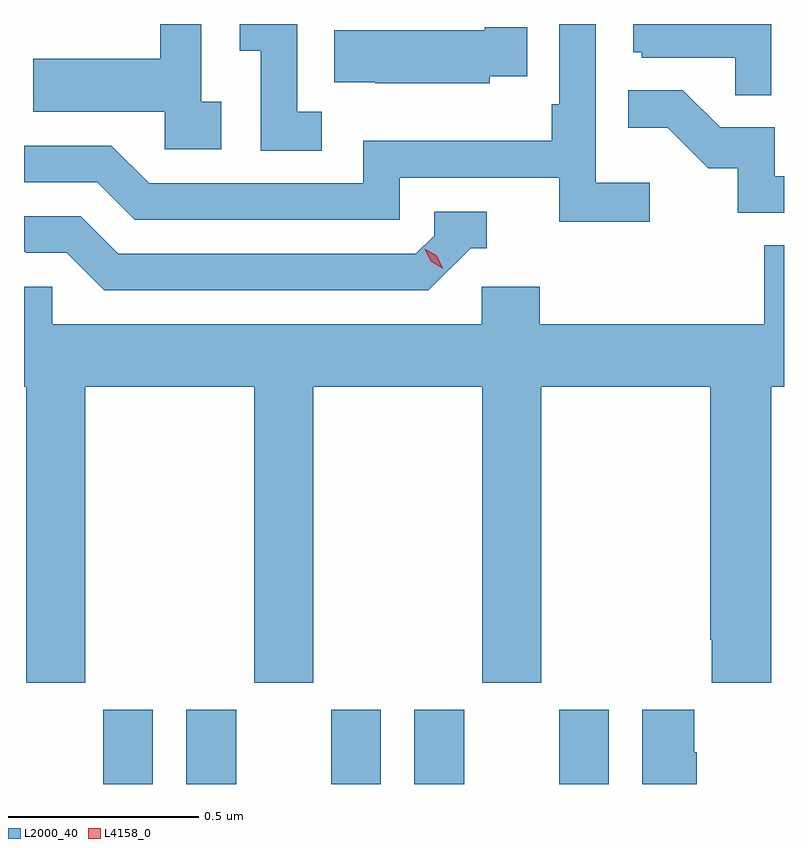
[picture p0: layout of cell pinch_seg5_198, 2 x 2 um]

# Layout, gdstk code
import gdstk
lib = gdstk.Library(unit=1e-6, precision=1e-09)
def R(c, l, rs):  # rectangles x0, y0, x1, y1
    for r in rs: c.add(gdstk.rectangle(r[:2], r[2:], *l))
def P(c, l, *ps):  # polygons
    for p in ps: c.add(gdstk.Polygon(p, *l))
L2000_40 = (2000, 40)
L4158_0 = (4158, 0)

pinch_seg5_198 = lib.new_cell('pinch_seg5_198')
R(pinch_seg5_198, L2000_40, [(993.785,897.006,993.916,897.202), (994.004,897.006,994.135,897.202), (994.385,897.006,994.516,897.202), (994.604,897.006,994.735,897.202), (994.985,897.006,995.116,897.202)])
P(pinch_seg5_198, L2000_40, [(994.36,898.775),(994.296,898.775),(994.296,899.006),(994.145,899.006),(994.145,898.936),(994.2,898.936),(994.2,898.672),(994.36,898.672)],
  [(994.096,898.802),(994.044,898.802),(994.044,899.006),(993.936,899.006),(993.936,898.915),(993.601,898.915),(993.601,898.775),(993.948,898.775),(993.948,898.677),(994.096,898.677)],
  [(995.224,898.588),(995.082,898.588),(995.082,899.006),(994.986,899.006),(994.986,898.795),(994.966,898.795),(994.966,898.699),(994.47,898.699),(994.47,898.587),(993.906,898.587),(993.807,898.686),(993.577,898.686),(993.577,898.59),(993.77,898.59),(993.869,898.491),(994.566,898.491),(994.566,898.602),(994.985,898.602),(994.985,898.486),(995.224,898.486)],
  [(995.544,899.006),(995.18,899.006),(995.18,898.932),(995.202,898.932),(995.202,898.917),(995.449,898.917),(995.449,898.819),(995.544,898.819)],
  [(994.803,898.868),(994.901,898.868),(994.901,898.998),(994.79,898.998),(994.79,898.99),(994.393,898.99),(994.393,898.853),(994.501,898.853),(994.501,898.85),(994.803,898.85)],
  [(995.577,898.605),(995.553,898.605),(995.553,898.734),(995.409,898.734),(995.311,898.832),(995.167,898.832),(995.167,898.733),(995.271,898.733),(995.378,898.626),(995.455,898.626),(995.455,898.509),(995.577,898.509)],
  [(994.752,898.416),(994.795,898.416),(994.795,898.512),(994.656,898.512),(994.656,898.449),(994.608,898.401),(993.825,898.401),(993.726,898.5),(993.577,898.5),(993.577,898.407),(993.582,898.407),(993.582,898.404),(993.689,898.404),(993.788,898.305),(994.641,898.305)],
  [(993.738,898.052),(994.183,898.052),(994.183,897.273),(994.338,897.273),(994.338,898.052),(994.783,898.052),(994.783,897.273),(994.938,897.273),(994.938,898.052),(995.383,898.052),(995.383,897.385),(995.387,897.385),(995.387,897.273),(995.543,897.273),(995.543,898.052),(995.577,898.052),(995.577,898.424),(995.525,898.424),(995.525,898.216),(994.934,898.216),(994.934,898.314),(994.782,898.314),(994.782,898.216),(993.651,898.216),(993.651,898.314),(993.577,898.314),(993.577,898.052),(993.583,898.052),(993.583,897.273),(993.738,897.273)],
  [(995.348,897.089),(995.341,897.089),(995.341,897.202),(995.204,897.202),(995.204,897.006),(995.348,897.006)])
P(pinch_seg5_198, L4158_0, [(994.678,898.363),(994.648,898.382),(994.632,898.414),(994.632,898.415),(994.632,898.415),(994.663,898.396),(994.679,898.363),(994.679,898.363)])

lib.write_gds('pinch_seg5_198.gds')
